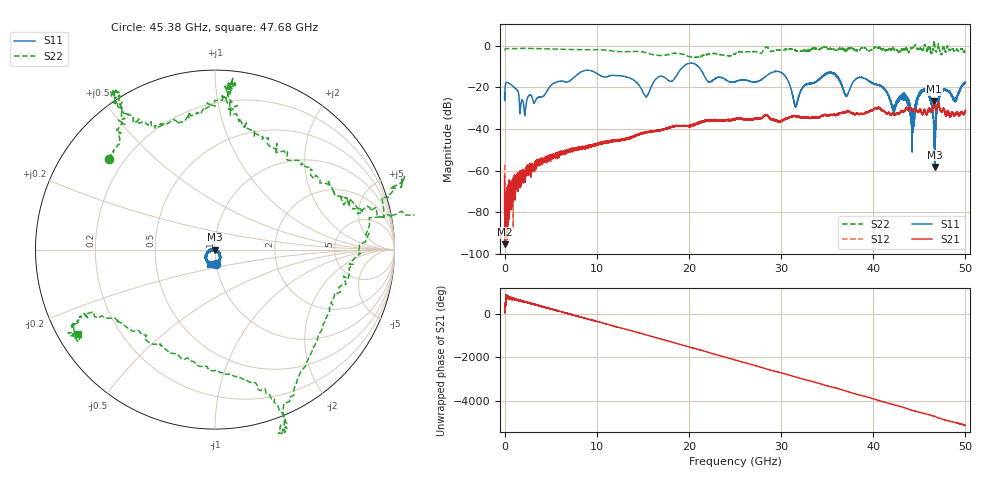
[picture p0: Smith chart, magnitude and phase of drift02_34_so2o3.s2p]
!Created with skrf (http://scikit-rf.org).
# Hz S RI R 50.0
!freq ReS11 ImS11 ReS21 ImS21 ReS12 ImS12 ReS22 ImS22
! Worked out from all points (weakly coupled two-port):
!   10001 points, 300 kHz to 50 GHz, reference 50 ohm
!   highest |S21| = -26.81 dB at 46.59 GHz (marker M1); lowest = -95.3 dB at 25.3 MHz (marker M2)
!   lowest |S11| = -58.2 dB at 46.67 GHz (marker M3), VSWR 1.00, Z = 50 - j0.119 ohm
!   |S11| at or under -10 dB: start of sweep to 19.42 GHz; 21 GHz to end of sweep
!   |S22| runs from -5.7 to 2.5 dB; largest |S21 - S12| = 0.0041
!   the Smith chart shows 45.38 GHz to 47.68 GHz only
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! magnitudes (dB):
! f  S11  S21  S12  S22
! 300 kHz  -22.7  -62.8  -57.1  -2.1
! 25.3 MHz  -23.1  -95.3  -77.9  -1.9
! 255.3 MHz  -17.6  -74.5  -81.0  -1.4
! 2.19 GHz  -33.5  -60.1  -59.7  -1.3
! 8.335 GHz  -12.5  -48.9  -49.5  -1.9
! 15.34 GHz  -24.5  -41.5  -41.7  -3.4
! 16.67 GHz  -15.1  -40.6  -40.6  -4.7
! 20.3 GHz  -8.4  -38.3  -38.3  -5.5
! 25 GHz  -17.4  -35.2  -35.2  -3.9
! 29.84 GHz  -12.6  -36.5  -36.5  -2.0
! 31.59 GHz  -29.1  -33.9  -34.0  -2.4
! 33.34 GHz  -18.1  -34.5  -34.6  -1.6
! 35.61 GHz  -13.1  -33.2  -33.2  -1.6
! 37.1 GHz  -24.2  -31.7  -31.6  -2.3
! 38.77 GHz  -15.3  -32.8  -32.7  -1.0
! 41.67 GHz  -24.2  -32.1  -32.1  -1.9
! 44.27 GHz  -38.4  -31.2  -31.4  -1.4
! 45.69 GHz  -21.7  -32.3  -32.2  -0.6
! 46.59 GHz  -37.6  -26.8  -26.9  1.9
! 46.67 GHz  -58.2  -28.4  -28.7  0.3
! 47.47 GHz  -21.6  -31.9  -31.8  -3.4
! 50 GHz  -17.9  -31.3  -31.3  -2.6
